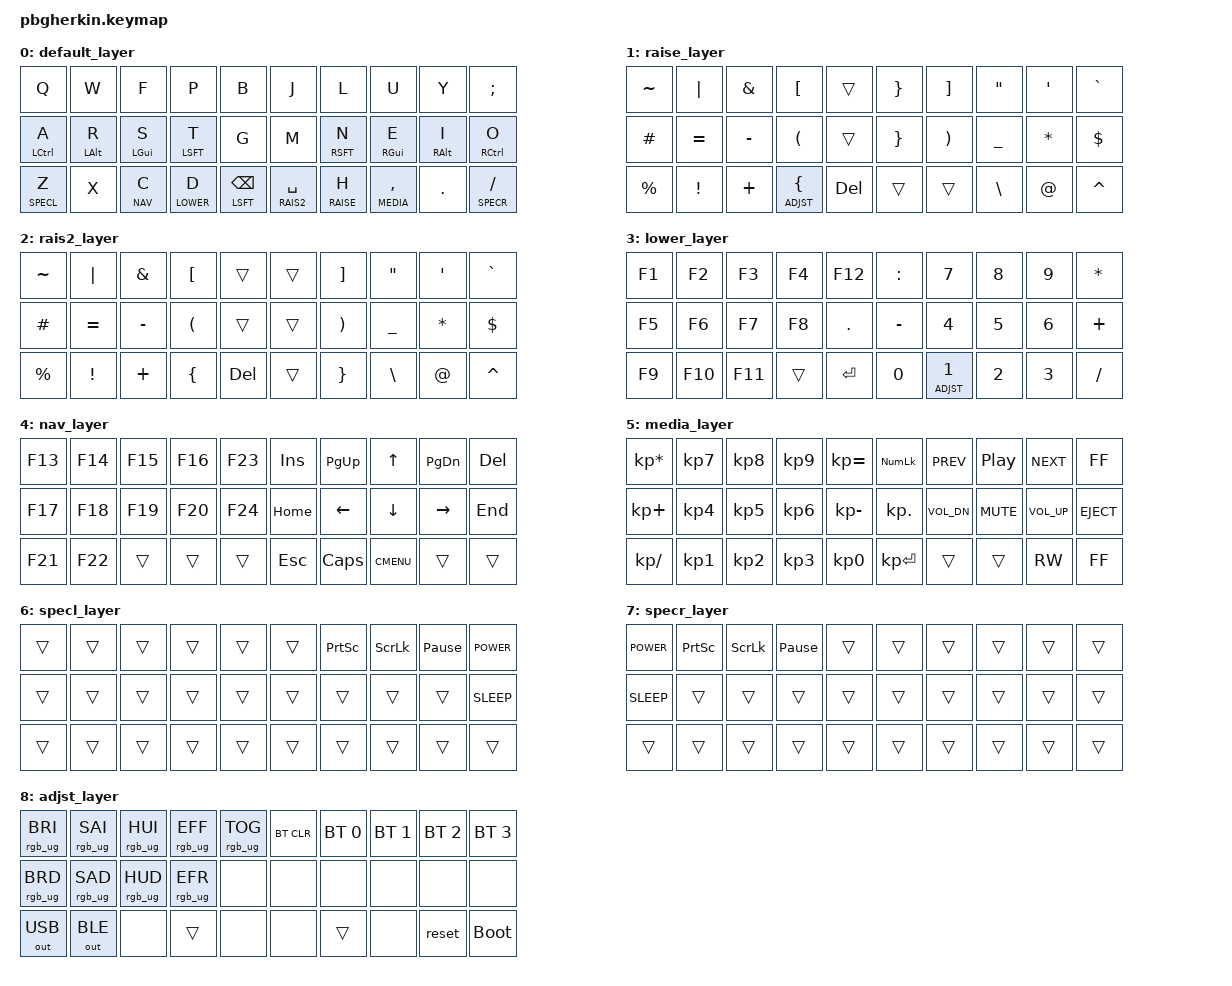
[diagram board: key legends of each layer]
/*
 * Copyright (c) 2021 purple-rw
 *
 * SPDX-License-Identifier: MIT
 */

#include <behaviors.dtsi>
#include <dt-bindings/zmk/keys.h>
#include <dt-bindings/zmk/bt.h>
#include <dt-bindings/zmk/outputs.h>
#include <dt-bindings/zmk/rgb.h>

#define BASE  0     // alphas
#define RAISE 1     // symbols
#define RAIS2 2     // symbols
#define LOWER 3     // numbers & functions
#define NAV   4     // navigation & functions2
#define MEDIA 5     // multimedia & keypad
#define SPECL 6     // specials
#define SPECR 7     // specials
#define ADJST 8     // bluetooth & rgb

&lt {
    tapping-term-ms = <200>;
    quick_tap_ms = <0>;
    flavor = "balanced";
};

&mt {
    tapping-term-ms = <200>;
    quick_tap_ms = <0>;
    flavor = "balanced";
};

/ {
    behaviors {
        hm: homerow_mods {
            compatible = "zmk,behavior-hold-tap";
            label = "HOMEROW_MODS";
            #binding-cells = <2>;
            tapping-term-ms = <300>;
            quick_tap_ms = <0>;
            flavor = "tap-preferred";
            bindings = <&kp>, <&kp>;
        };

        combos {
            compatible = "zmk,combos";
            combo_esc {
                timeout-ms = <50>;
                key-positions = <0 1>;
                bindings = <&kp ESC>;
                layers = <BASE RAISE RAIS2 LOWER>;

            };
            combo_del {
                timeout-ms = <50>;
                key-positions = <8 9>;
                bindings = <&kp DEL>;
                layers = <BASE RAISE RAIS2 LOWER>;
            };
            combo_tab {
                timeout-ms = <50>;
                key-positions = <21 22>;
                bindings = <&kp TAB>;
                layers = <BASE RAISE RAIS2 LOWER>;
            };
            combo_v {
                timeout-ms = <50>;
                key-positions = <23 24>;
                bindings = <&kp V>;
                layers = <BASE>;
            };
            combo_k {
                timeout-ms = <50>;
                key-positions = <25 26>;
                bindings = <&kp K>;
                layers = <BASE>;
            };
            combo_enter {
                timeout-ms = <50>;
                key-positions = <27 28>;
                bindings = <&kp ENTER>;
                layers = <BASE RAISE RAIS2 LOWER>;
            };
        };
    };

    keymap {
        compatible = "zmk,keymap";

        default_layer {

// (Hold)
// -------------------------------------------------------------
// |     |     |     |     |     |     |     |     |     |     |
// |Ctrl | Alt | Gui |Shift|     |     |Shift| Gui | Alt |Ctrl |
// |SPECL|     | NAV |LOWER|LShft|RAIS2|RAISE|MEDIA|     |SPECR|
// -------------------------------------------------------------
// Colemak-DH
// -------------------------------------------------------------
// |  Q  |  W  |  F  |  P  |  B  |  J  |  L  |  U  |  Y  |  ;  |
// |  A  |  R  |  S  |  T  |  G  |  M  |  N  |  E  |  I  |  O  |
// |  Z  |  X  |  C  |  D  |BkSpc|Space|  H  |  ,  |  .  |  /  |
// -------------------------------------------------------------
// (Combos)
// -------------------------------------------------------------
// |<-- Esc -->|     |     |     |     |     |     |<-- Del -->|
// |     |     |     |     |     |     |     |     |     |     |
// |     |<-- Tab -->|<--- V --->|<--- K --->|<- Enter ->|     |
// -------------------------------------------------------------

            bindings = < 
    &kp Q       &kp W      &kp F      &kp P       &kp B         &kp J           &kp L       &kp U           &kp Y      &kp SEMI
    &hm LCTRL A &hm LALT R &hm LGUI S &hm LSFT T  &kp G         &kp M           &hm RSFT N  &hm RGUI E      &hm RALT I &hm RCTRL O
    &lt SPECL Z &kp X      &lt NAV C  &lt LOWER D &mt LSFT BSPC &lt RAIS2 SPACE &lt RAISE H &lt MEDIA COMMA &kp DOT    &lt SPECR FSLH
            >;
        } ;

        raise_layer {
// Symbols
// -------------------------------------------------------------
// |  ~  |  |  |  &  |  [  |     |  }  |  ]  |  "  |  '  |  `  |
// |  #  |  =  |  -  |  (  |     |  }  |  )  |  _  |  *  |  $  |
// |  %  |  !  |  +  |  {  | DEL |     | *** |  \  |  @  |  ^  |
// -------------------------------------------------------------
            bindings = <
    &kp TILDE &kp PIPE  &kp AMPS  &kp LBKT        &trans    &kp RBRC  &kp RBKT  &kp DQT   &kp SQT   &kp GRAVE 
    &kp HASH  &kp EQUAL &kp MINUS &kp LPAR        &trans    &kp RBRC  &kp RPAR  &kp UNDER &kp STAR  &kp DLLR
    &kp PRCNT &kp EXCL  &kp PLUS  &lt ADJST LBRC  &kp DEL   &trans    &trans    &kp BSLH  &kp AT    &kp CARET
            >;
        };

        rais2_layer {
// Symbols
// -------------------------------------------------------------
// |  ~  |  |  |  &  |  [  |     |     |  ]  |  "  |  '  |  `  |
// |  #  |  =  |  -  |  (  |     |     |  )  |  _  |  *  |  $  |
// |  %  |  !  |  +  |  {  | DEL | *** |  }  |  \  |  @  |  ^  |
// -------------------------------------------------------------
            bindings = <
    &kp TILDE &kp PIPE  &kp AMPS  &kp LBKT  &trans    &trans    &kp RBKT  &kp DQT   &kp SQT   &kp GRAVE 
    &kp HASH  &kp EQUAL &kp MINUS &kp LPAR  &trans    &trans    &kp RPAR  &kp UNDER &kp STAR  &kp DLLR
    &kp PRCNT &kp EXCL  &kp PLUS  &kp LBRC  &kp DEL   &trans    &kp RBRC  &kp BSLH  &kp AT    &kp CARET
            >;
        };

        lower_layer {
// Numbers and Functions
// -------------------------------------------------------------
// | F1  | F2  | F3  | F4  | F12 |  :  |  7  |  8  |  9  |  *  |
// | F5  | F6  | F7  | F8  |  .  |  -  |  4  |  5  |  6  |  +  |
// | F9  | F10 | F11 | *** |Enter|  0  |  1  |  2  |  3  |  /  |
// -------------------------------------------------------------
            bindings = <
    &kp F1  &kp F2  &kp F3  &kp F4  &kp F12   &kp COLON &kp N7        &kp N8  &kp N9  &kp STAR
    &kp F5  &kp F6  &kp F7  &kp F8  &kp DOT   &kp MINUS &kp N4        &kp N5  &kp N6  &kp PLUS
    &kp F9  &kp F10 &kp F11 &trans  &kp ENTER &kp N0    &lt ADJST N1  &kp N2  &kp N3  &kp FSLH
            >;
        };

        nav_layer {
// Navigation and Functions2
// -------------------------------------------------------------
// | F13 | F14 | F15 | F16 | F23 | Ins |PgUp | Up  |PgDn | Del |
// | F17 | F18 | F19 | F20 | F24 |Home |Left |Down |Right| End |
// | F21 | F22 | *** |     |     | Esc |CapLk|Menu |     |     |
// -------------------------------------------------------------
            bindings = <
    &kp F13 &kp F14 &kp F15 &kp F16 &kp F23 &kp INS  &kp PG_UP &kp UP      &kp PG_DN &kp DEL
    &kp F17 &kp F18 &kp F19 &kp F20 &kp F24 &kp HOME &kp LEFT  &kp DOWN    &kp RIGHT &kp END
    &kp F21 &kp F22 &trans  &trans  &trans  &kp ESC  &kp CAPS  &kp K_CMENU &trans    &trans
            >;
        };

        media_layer {
// Multimedia and Keypad
// -------------------------------------------------------------
// |  *  |  7  |  8  |  9  |  =  |NumLk|Prev |Play |Next |FFwd |
// |  +  |  4  |  5  |  6  |  -  |  .  |Vol- |Mute |Vol+ |Eject|
// |  /  |  1  |  2  |  3  |  0  |Enter|     | *** |Rewnd|FFwd |
// -------------------------------------------------------------
            bindings = <
    &kp KP_MULTIPLY &kp KP_N7 &kp KP_N8  &kp KP_N9 &kp KP_EQUAL &kp KP_NUM   &kp C_PREV     &kp C_PP     &kp C_NEXT    &kp C_FF
    &kp KP_PLUS     &kp KP_N4 &kp KP_N5  &kp KP_N6 &kp KP_MINUS &kp KP_DOT   &kp C_VOL_DN   &kp K_MUTE   &kp C_VOL_UP  &kp C_EJECT
    &kp KP_DIVIDE   &kp KP_N1 &kp KP_N2  &kp KP_N3 &kp KP_N0    &kp KP_ENTER &trans         &trans       &kp C_RW      &kp C_FF
            >;
        };

        specl_layer {
// Specials (L)
// -------------------------------------------------------------
// |     |     |     |     |     |     |PrnSc|ScrLk|Pause|Power|
// |     |     |     |     |     |     |     |     |     |Sleep|
// | *** |     |     |     |     |     |     |     |     |     |
// -------------------------------------------------------------
            bindings = <
    &trans &trans &trans &trans &trans &trans &kp PSCRN &kp SLCK &kp PAUSE_BREAK &kp C_POWER
    &trans &trans &trans &trans &trans &trans &trans    &trans   &trans          &kp C_SLEEP
    &trans &trans &trans &trans &trans &trans &trans    &trans   &trans          &trans
            >;
        };

        specr_layer {
// Specials (R)
// -------------------------------------------------------------
// |Power|PrnSc|ScrLk|Pause|     |     |     |     |     |     |
// |Sleep|     |     |     |     |     |     |     |     |     |
// |     |     |     |     |     |     |     |     |     | *** |
// -------------------------------------------------------------
            bindings = <
    &kp C_POWER &kp PSCRN &kp SLCK &kp PAUSE_BREAK &trans &trans &trans &trans &trans &trans
    &kp C_SLEEP &trans    &trans   &trans          &trans &trans &trans &trans &trans &trans
    &trans      &trans    &trans   &trans          &trans &trans &trans &trans &trans &trans
            >;
        };

        adjst_layer {
//  v----------- RGB -----------v
// -------------------------------------------------------------
// |Bri+ |Sat+ |Hue+ |Ani+ |Toggl|BTClr| BT0 | BT1 | BT2 | BT3 |
// |Bri- |Sat- |Hue- |Ani- |     |     |     |     |     |     |
// | USB | BLE |     | *** |     |     | *** |     |Reset|BootL|
// -------------------------------------------------------------
            bindings = <
    &rgb_ug RGB_BRI &rgb_ug RGB_SAI &rgb_ug RGB_HUI &rgb_ug RGB_EFF &rgb_ug RGB_TOG &bt BT_CLR &bt BT_SEL 0 &bt BT_SEL 1 &bt BT_SEL 2 &bt BT_SEL 3
    &rgb_ug RGB_BRD &rgb_ug RGB_SAD &rgb_ug RGB_HUD &rgb_ug RGB_EFR &none           &none      &none        &none        &none        &none
    &out OUT_USB    &out OUT_BLE    &none           &trans          &none           &none      &trans       &none        &reset       &bootloader
            >;
        };
    };
};
